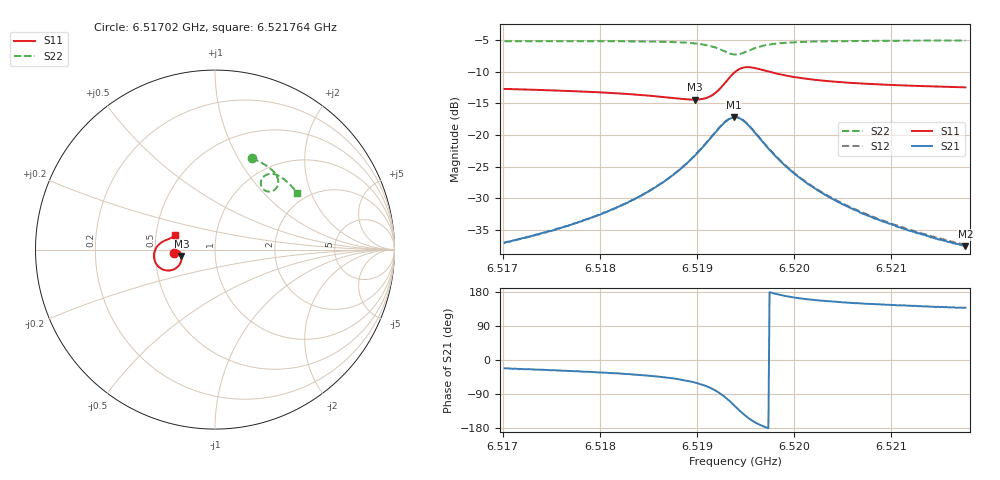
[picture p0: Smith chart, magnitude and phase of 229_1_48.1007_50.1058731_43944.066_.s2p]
#  HZ  S  RI  R  50.00
! Rohde & Schwarz Vector Network Analyzer
! Rohde-Schwarz,ZNB20-2Port,1311601062101988,3.16
! Created: UTC 12/23/2023, 3:57:34 AM
! freq[Hz]  re:S11  im:S11  re:S21  im:S21  re:S12  im:S12  re:S22  im:S22
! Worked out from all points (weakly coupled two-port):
!   401 points, 6.51702 GHz to 6.521764 GHz, reference 50 ohm
!   highest |S21| = -17.21 dB at 6.51938 GHz (marker M1); lowest = -37.5 dB at 6.521764 GHz (marker M2)
!   lowest |S11| = -14.4 dB at 6.518977 GHz (marker M3), VSWR 1.47, Z = 34.2 - j2.52 ohm
!   |S11| at or under -10 dB: start of sweep to 6.519398 GHz; 6.519739 GHz to end of sweep
!   |S22| runs from -7.3 to -5.1 dB; largest |S21 - S12| = 0.0044
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6.5170197e9  -0.2302 -0.0167  0.0131 -0.00526  0.0133 -0.00503  0.2045 0.5087
6.5173874e9  -0.2262 -0.0113  0.015 -0.0071  0.0152 -0.00674  0.2316 0.4974
6.5178144e9  -0.2201 -0.00624  0.018 -0.0106  0.0185 -0.00999  0.2631 0.4815
6.5182532e9  -0.2113 -0.00428  0.0229 -0.017  0.0235 -0.0163  0.2961 0.4608
6.5186091e9  -0.2007 -0.00884  0.0291 -0.028  0.03 -0.0272  0.3236 0.4374
6.5187988e9  -0.1932 -0.0176  0.033 -0.0397  0.0343 -0.0387  0.3383 0.4192
6.5189768e9  -0.1867 -0.0355  0.0351 -0.059  0.037 -0.0583  0.3498 0.3944
6.5190835e9  -0.1866 -0.055  0.0318 -0.0778  0.0343 -0.0774  0.3523 0.3735
6.5191665e9  -0.1937 -0.0765  0.0221 -0.0975  0.0254 -0.0973  0.3475 0.353
6.519297e9  -0.2362 -0.1127  -0.0213 -0.1258  -0.0177 -0.1278  0.3144 0.3248
6.51938e9  -0.2867 -0.1121  -0.0668 -0.1205  -0.0638 -0.1232  0.2792 0.3288
6.5193919e9  -0.294 -0.1092  -0.073 -0.1169  -0.0701 -0.12  0.2745 0.3318
6.5194393e9  -0.3192 -0.0905  -0.0934 -0.0978  -0.0912 -0.1015  0.2605 0.348
6.5194986e9  -0.3369 -0.0591  -0.1055 -0.0686  -0.1044 -0.0722  0.2549 0.3722
6.5195935e9  -0.3374 -0.0131  -0.1009 -0.0292  -0.101 -0.0324  0.267 0.4026
6.5197003e9  -0.3217 0.0185  -0.0839 -0.00472  -0.0845 -0.00727  0.2899 0.4183
6.5199138e9  -0.2911 0.0443  -0.0556 0.0111  -0.0566 0.00971  0.3281 0.4205
6.5201866e9  -0.2682 0.0549  -0.0366 0.014  -0.0373 0.0132  0.3602 0.4084
6.5205187e9  -0.2523 0.0614  -0.0247 0.0132  -0.0254 0.0126  0.3879 0.3894
6.5209812e9  -0.2389 0.0682  -0.0165 0.0113  -0.017 0.011  0.4181 0.3623
6.5214201e9  -0.2298 0.0742  -0.0121 0.0099  -0.0126 0.00969  0.4421 0.3355
6.5217641e9  -0.224 0.0788  -0.0099 0.00888  -0.0103 0.0089  0.4591 0.3141
